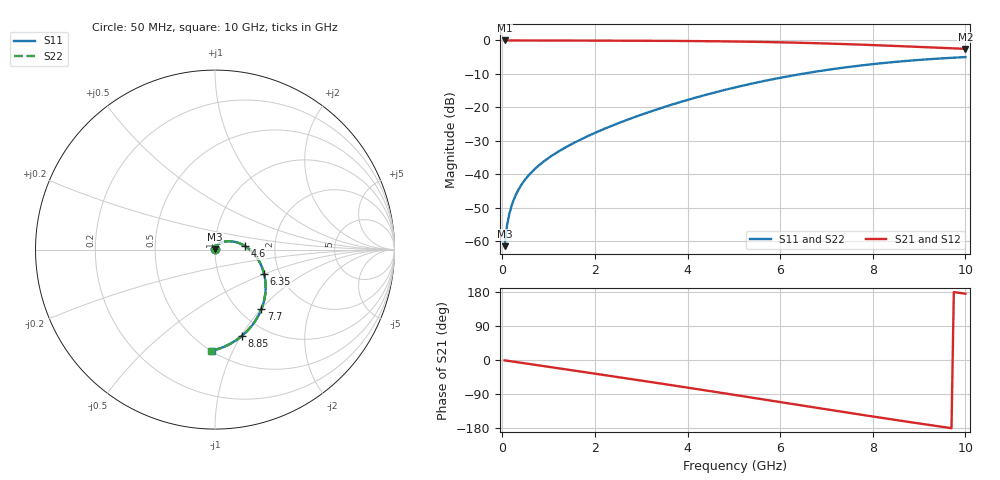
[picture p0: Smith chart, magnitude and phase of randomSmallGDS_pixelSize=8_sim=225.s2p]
! freq	dB(S11)	phase(S11)	dB(S12)	phase(S12)
!  dB(S21)	phase(S21)	dB(S22)	phase(S22)
!S-par simulation data
#  GHz  S  DB  R 50
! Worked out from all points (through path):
!   200 points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, 50 MHz to 10 GHz, reference 50 ohm
!   highest |S21| = 0.00 dB at 50 MHz (marker M1); lowest = -2.5 dB at 10 GHz (marker M2)
!   group delay of S21, straight-line fit = 52 ps
!   lowest |S11| = -61.4 dB at 50 MHz (marker M3), VSWR 1.00, Z = 50 + j0.0845 ohm
!   |S11| at or under -10 dB: start of sweep to 6.464 GHz
!   |S22| runs from -61.4 to -5.0 dB; largest |S21 - S12| = 0
!   S11 on the Smith chart (normalised r, x): 50 MHz: 1.00, +0.00; 4.6 GHz: 1.40, +0.06; 6.35 GHz: 1.66, -0.50; 7.7 GHz: 1.25, -1.00; 8.85 GHz: 0.79, -1.01; 10 GHz: 0.50, -0.83
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0.05  -61.45 86.2  -0.00 -0.9  -0.00 -0.9  -61.44 86.2
0.1  -55.43 86.6  -0.00 -1.8  -0.00 -1.8  -55.43 86.6
0.15  -51.91 86.0  -0.00 -2.7  -0.00 -2.7  -51.91 86.0
0.2  -49.42 85.3  -0.00 -3.6  -0.00 -3.6  -49.42 85.3
0.3  -45.90 83.6  -0.01 -5.4  -0.01 -5.4  -45.90 83.6
0.45  -42.36 81.0  -0.01 -8.1  -0.01 -8.1  -42.36 81.0
0.65  -39.09 77.6  -0.02 -11.7  -0.02 -11.7  -39.09 77.6
0.95  -35.58 72.6  -0.02 -17.1  -0.02 -17.1  -35.58 72.6
1.3  -32.46 66.7  -0.03 -23.4  -0.03 -23.4  -32.46 66.7
1.75  -29.20 59.0  -0.04 -31.5  -0.04 -31.5  -29.20 59.0
2.6  -24.21 43.8  -0.07 -46.9  -0.07 -46.9  -24.21 43.8
3.4  -20.31 29.1  -0.11 -61.7  -0.11 -61.7  -20.31 29.1
4  -17.76 18.0  -0.17 -72.9  -0.17 -72.9  -17.76 17.9
4.6  -15.49 6.7  -0.24 -84.2  -0.24 -84.2  -15.49 6.7
5.05  -13.95 -1.8  -0.32 -92.7  -0.32 -92.7  -13.95 -1.9
5.7  -11.98 -14.2  -0.47 -105.2  -0.47 -105.2  -11.98 -14.2
6.35  -10.27 -26.6  -0.66 -117.7  -0.66 -117.7  -10.27 -26.6
6.7  -9.46 -33.2  -0.79 -124.4  -0.79 -124.4  -9.46 -33.2
7.7  -7.54 -51.9  -1.23 -143.5  -1.23 -143.5  -7.54 -51.9
8.35  -6.58 -63.7  -1.56 -155.6  -1.56 -155.6  -6.58 -63.7
8.85  -5.97 -72.5  -1.84 -164.8  -1.84 -164.8  -5.97 -72.5
10  -4.97 -92.0  -2.51 174.9  -2.51 174.9  -4.97 -92.0
